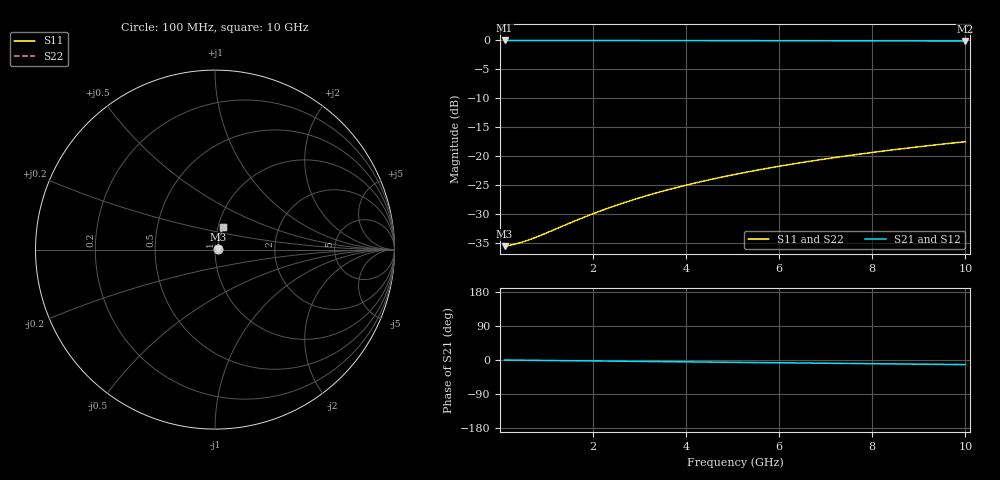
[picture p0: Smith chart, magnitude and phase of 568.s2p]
# Hz S RI R 50.00
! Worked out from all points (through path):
!   100 points, 100 MHz to 10 GHz, reference 50 ohm
!   highest |S21| = -0.15 dB at 100 MHz (marker M1); lowest = -0.2 dB at 10 GHz (marker M2)
!   group delay of S21, straight-line fit = 3.37 ps
!   lowest |S11| = -35.6 dB at 100 MHz (marker M3), VSWR 1.03, Z = 51.7 + j0.134 ohm
!   |S11| at or under -10 dB: start of sweep to end of sweep
!   |S22| runs from -35.6 to -17.6 dB; largest |S21 - S12| = 0
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1e8  0.0166 0.00129  0.9834 -0.00209  0.9834 -0.00209  0.0166 0.00129
3e8  0.0168 0.00388  0.9832 -0.00628  0.9832 -0.00628  0.0168 0.00388
4e8  0.0169 0.00517  0.9831 -0.00837  0.9831 -0.00837  0.0169 0.00517
5e8  0.017 0.00646  0.983 -0.0105  0.983 -0.0105  0.017 0.00646
7e8  0.0171 0.00904  0.9829 -0.0147  0.9829 -0.0147  0.0171 0.00904
9e8  0.0173 0.0116  0.9827 -0.0188  0.9827 -0.0188  0.0173 0.0116
1.5e9  0.0179 0.0193  0.9821 -0.0314  0.9821 -0.0314  0.0179 0.0193
1.8e9  0.0182 0.0232  0.9817 -0.0376  0.9817 -0.0376  0.0182 0.0232
2.2e9  0.0187 0.0283  0.9811 -0.046  0.9811 -0.046  0.0187 0.0283
2.6e9  0.0193 0.0335  0.9805 -0.0543  0.9805 -0.0543  0.0193 0.0335
3e9  0.02 0.0386  0.9797 -0.0626  0.9797 -0.0626  0.02 0.0386
3.4e9  0.0207 0.0437  0.9789 -0.0709  0.9789 -0.0709  0.0207 0.0437
3.8e9  0.0216 0.0487  0.9779 -0.0792  0.9779 -0.0792  0.0216 0.0487
4.2e9  0.0225 0.0538  0.9769 -0.0875  0.9769 -0.0875  0.0225 0.0538
4.6e9  0.0235 0.0588  0.9758 -0.0957  0.9758 -0.0957  0.0235 0.0588
5.1e9  0.0249 0.0651  0.9742 -0.106  0.9742 -0.106  0.0249 0.0651
5.9e9  0.0274 0.0751  0.9715 -0.1224  0.9715 -0.1224  0.0274 0.0751
6.7e9  0.0302 0.0849  0.9683 -0.1387  0.9683 -0.1387  0.0302 0.0849
7.5e9  0.0333 0.0947  0.9648 -0.1549  0.9648 -0.1549  0.0333 0.0947
8.4e9  0.0372 0.1055  0.9605 -0.1729  0.9605 -0.1729  0.0372 0.1055
9.2e9  0.041 0.1149  0.9562 -0.1888  0.9562 -0.1888  0.041 0.1149
1e10  0.0451 0.1242  0.9516 -0.2046  0.9516 -0.2046  0.0451 0.1242
